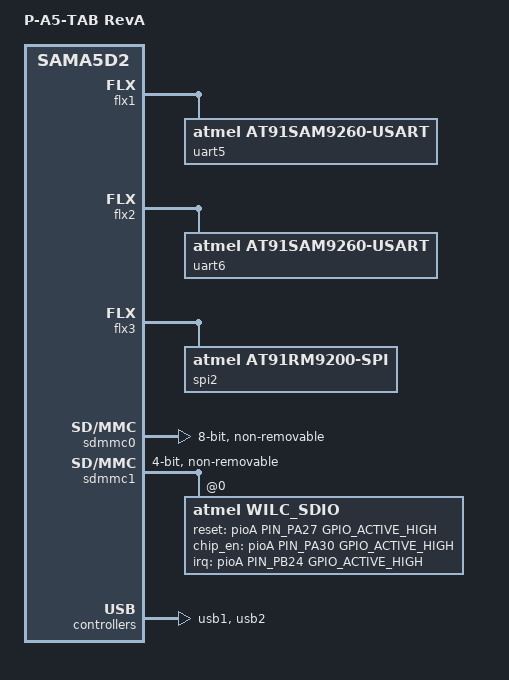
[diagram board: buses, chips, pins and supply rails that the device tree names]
/*
 * p_a5_tab_reva.dts - Device Tree file for P_A5_TAB_REVA Board
 *Anotations: 
 */
/dts-v1/;
#include "sama5d2.dtsi"
#include "sama5d2-pinfunc.h"
#include <dt-bindings/mfd/atmel-flexcom.h>
#include <dt-bindings/gpio/gpio.h>

/ {
	model = "P-A5-TAB RevA";
	compatible = "p_a5_tab_reva", "atmel,sama5d2", "atmel,sama5";

	aliases {
		spidev0 = &spi2;
		serial0 = &uart5;
	};

	chosen {
		stdout-path = "serial0:115200n8";
	};

	clocks {
		slow_xtal {
			clock-frequency = <32768>;
		};

		main_xtal {
			clock-frequency = <12000000>;
		};
	};

	ahb {
		apb {
			watchdog@f8048040 {
				atmel,disable;
				status = "okay";
			};
		};

	};
	/*
	gpio_keys {
		compatible = "gpio-keys";
		pinctrl-names = "default";
		pinctrl-0 = <&pinctrl_key_gpio_default>;

		bp1 {
			label = "PB_USER";
			gpios = <&pioA PIN_PA10 GPIO_ACTIVE_LOW>;
			linux,code = <0x104>;
		};
	}; */

};
/*Flexcom UART for bluetooth COM
&flx0 {
	atmel,flexcom-mode = <ATMEL_FLEXCOM_MODE_USART>;
	status = "okay";

	uart7: serial@200 {
		compatible = "atmel,at91sam9260-usart";
		reg = <0x200 0x200>;
		interrupts = <19 IRQ_TYPE_LEVEL_HIGH 7>;
		atmel,use-dma-tx;
		atmel,use-dma-rx;
		dmas = <&dma1
			(AT91_XDMAC_DT_MEM_IF(0) | AT91_XDMAC_DT_PER_IF(1)
			| AT91_XDMAC_DT_PERID(11))>,
			<&dma1
			(AT91_XDMAC_DT_MEM_IF(0) | AT91_XDMAC_DT_PER_IF(1)
			| AT91_XDMAC_DT_PERID(12))>;
		dma-names = "tx", "rx";
		#address-cells = <1>;
		#size-cells = <0>;
		clocks = <&flx0_clk>;
		clock-names = "usart";
		pinctrl-names = "default";
		pinctrl-0 = <&pinctrl_flx0_default>;
		atmel,fifo-size = <32>;
		status = "okay";
	};
};
Flexcom with RS232 converter*/
&flx1 {
	atmel,flexcom-mode = <ATMEL_FLEXCOM_MODE_USART>;
	status = "okay";

	uart5: serial@200 {
		compatible = "atmel,at91sam9260-usart";
		reg = <0x200 0x200>;
		interrupts = <20 IRQ_TYPE_LEVEL_HIGH 7>;
		#address-cells = <1>;
		#size-cells = <0>;
		clocks = <&flx1_clk>;
		clock-names = "usart";
		pinctrl-names = "default";
		pinctrl-0 = <&pinctrl_flx1_default>;
		atmel,fifo-size = <32>;
		status = "okay";
	};
};
/*Flexcom for UART located in J4, alternatively it can be use for SPI, here we only use MISO and MOSI pins*/
&flx2 {
	atmel,flexcom-mode = <ATMEL_FLEXCOM_MODE_USART>;
	status = "okay";

	uart6: serial@200 {
		compatible = "atmel,at91sam9260-usart";
		reg = <0x200 0x200>;
		interrupts = <21 IRQ_TYPE_LEVEL_HIGH 7>;
		#address-cells = <1>;
		#size-cells = <0>;
		clocks = <&flx2_clk>;
		clock-names = "usart";
		pinctrl-names = "default";
		pinctrl-0 = <&pinctrl_flx2_default>;
		atmel,fifo-size = <32>;
		status = "okay";
	};
};
/* Flexcom for IO module located in J3 */
&flx3 {
	atmel,flexcom-mode = <ATMEL_FLEXCOM_MODE_SPI>;
	status = "okay";

	spi2: spi@400 {
		compatible = "atmel,at91rm9200-spi";
		reg = <0x400 0x200>;
		interrupts = <22 IRQ_TYPE_LEVEL_HIGH 7>;
		#address-cells = <1>;
		#size-cells = <0>;
		clocks = <&flx3_clk>;
		clock-names = "spi_clk";
		pinctrl-names = "default";
		cs-gpios = <0>,<0>;
		pinctrl-0 = <&pinctrl_flx3_default>;
		status = "okay";
		/* DMA XDMAC0 and XDMA1 channels TX:17 RX:18*/
		dmas = <&dma0
			(AT91_XDMAC_DT_MEM_IF(0) | AT91_XDMAC_DT_PER_IF(1) |
			 AT91_XDMAC_DT_PERID(17))>,
			   <&dma0
			(AT91_XDMAC_DT_MEM_IF(0) | AT91_XDMAC_DT_PER_IF(1) |
			 AT91_XDMAC_DT_PERID(18))>;
		dma-names = "tx", "rx";

		spidev0: spi@0{
			compatible = "spidev"; 
			reg = <0>;
			spi-max-frequency=<1000000>;
			status = "okay";	
		};
	};
};

/* I2C alias TWIHS0, used for SCL0 and SDA0, 
&i2c0{

}
 I2C alias TWIHS1, used for SCL and SDA 
&i2c1{

}
1-Wire */
&pioA {
/*
	pinctrl_flx0_default: flx0_default {
		pinmux = <PIN_PB28__FLEXCOM0_IO0>,
			 <PIN_PB29__FLEXCOM0_IO1>;
		bias-disable;
	};
*/
	pinctrl_flx1_default: flx1_default {
		pinmux = <PIN_PA24__FLEXCOM1_IO0>,
			 <PIN_PA23__FLEXCOM1_IO1>;
		bias-disable;
	};

	pinctrl_flx2_default: flx2_default {
		pinmux = <PIN_PD26__FLEXCOM2_IO0>,
			 <PIN_PD27__FLEXCOM2_IO1>;
		bias-disable;
	};
/*
FLEXCOM_IO0 = MOSI, FLEXCOM_IO1 = MISO, FLEXCOM_IO2 = SPCK, FLEXCOM_IO3 = NPCS0, FLEXCOM_IO4 = NPCS1
SPI 
pinmux = <PIN_PA14__SPI0_SPCK>,
		<PIN_PA15__SPI0_MOSI>,
		<PIN_PA16__SPI0_MISO>,
		<PIN_PA17__SPI0_NPCS0>
*/
	pinctrl_flx3_default: flx3_default {
		pinmux = <PIN_PC18__FLEXCOM3_IO2>,
			 <PIN_PC20__FLEXCOM3_IO0>,
			 <PIN_PC19__FLEXCOM3_IO1>;
		bias-disable;
	};
	/*
	pinctrl_key_gpio_default: key_gpio_default {
		pinmux = <PIN_PA10__GPIO>;
		bias-pull-up;
	};
	*/
	pinctrl_sdmmc0_default: sdmmc0_default {
		cmd_data {
			pinmux = <PIN_PA1__SDMMC0_CMD>,
				 <PIN_PA2__SDMMC0_DAT0>,
				 <PIN_PA3__SDMMC0_DAT1>,
				 <PIN_PA4__SDMMC0_DAT2>,
				 <PIN_PA5__SDMMC0_DAT3>,
				 <PIN_PA6__SDMMC0_DAT4>,
				 <PIN_PA7__SDMMC0_DAT5>,
				 <PIN_PA8__SDMMC0_DAT6>,
				 <PIN_PA9__SDMMC0_DAT7>;
			bias-pull-up;
		};

		ck_cd_vddsel {
			pinmux = <PIN_PA0__SDMMC0_CK>,
				<PIN_PA10__SDMMC0_RSTN>,
				 <PIN_PA11__SDMMC0_VDDSEL>,
				 <PIN_PA13__SDMMC0_CD>;
			bias-disable;
		};
	};
	
	pinctrl_sdmmc1_default: sdmmc1_default {
		cmd_data {
			pinmux = <PIN_PA28__SDMMC1_CMD>,
				 <PIN_PA18__SDMMC1_DAT0>,
				 <PIN_PA19__SDMMC1_DAT1>,
				 <PIN_PA20__SDMMC1_DAT2>,
				 <PIN_PA21__SDMMC1_DAT3>;
			bias-pull-up;
		};

		ck_cd_vddsel {
			pinmux = <PIN_PA22__SDMMC1_CK>,
				<PIN_PA27__SDMMC1_RSTN>,
				 <PIN_PA30__SDMMC1_CD>; 
			bias-disable;
		};
	};
	
	pinctrl_usb_default: usb_default {
		pinmux = <PIN_PB12__GPIO>;
		bias-disable;
	};

	pinctrl_usba_vbus: usba_vbus {
		pinmux = <PIN_PB11__GPIO>;
		bias-disable;
	};
};
/* eMMC */
&sdmmc0 {
	compatible= "atmel,sama5d2-sdhci";
	bus-width = <8>;
	pinctrl-names = "default";
	pinctrl-0 = <&pinctrl_sdmmc0_default>;
	non-removable;
	mmc-ddr-1_8v;
	status = "okay";
};
/* Wifi/Bluetooth module */
&sdmmc1 {
	compatible= "atmel,sama5d2-sdhci";
	bus-width = <4>;
	pinctrl-names = "default";
	pinctrl-0 = <&pinctrl_sdmmc1_default>;
	max-frequency=<2000000>;
	non-removable;
	cd-inverted;
	status = "okay";
	wilc_sdio@0{
		compatible = "atmel,wilc_sdio";
		gpio_reset = <0 &pioA PIN_PA27 GPIO_ACTIVE_HIGH 0>;
		gpio_chip_en = <0 &pioA PIN_PA30 GPIO_ACTIVE_HIGH 0>;
		gpio_irq = <0 &pioA PIN_PB24 GPIO_ACTIVE_HIGH 0>;
		status = "okay";
	};
};
/* UHPHS - Host - OHCI*/
&usb1 {
	num-ports = <3>;
	atmel,vbus-gpio = <0 &pioA PIN_PB12 GPIO_ACTIVE_HIGH 0>;
	pinctrl-names = "default";
	pinctrl-0 = <&pinctrl_usb_default>;
	status = "okay";
};
/* UHPHS - Host - EHCI*/
&usb2 {
	status = "okay";
};
